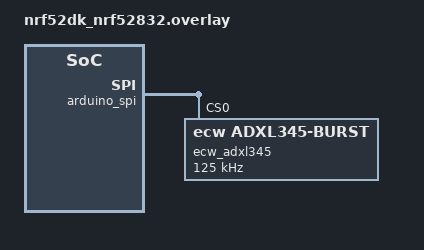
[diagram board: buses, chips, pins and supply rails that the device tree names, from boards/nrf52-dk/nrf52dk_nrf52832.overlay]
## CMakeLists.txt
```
cmake_minimum_required(VERSION 3.20.0)
find_package(Zephyr REQUIRED HINTS $ENV{ZEPHYR_BASE})
project(adxl345_event_driven)

target_sources(app PRIVATE src/main.c)
target_sources_ifdef(CONFIG_ADXL345_BURST app PRIVATE drivers/adxl345_burst/adxl345_burst.c)
target_include_directories(app PRIVATE drivers/adxl345_burst)
```

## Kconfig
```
# The sensor driver ships with the app rather than with Zephyr
config ADXL345_BURST
	bool "ADXL345 burst-read sensor with software FIFO watermark trigger"
	default y
	depends on DT_HAS_ECW_ADXL345_BURST_ENABLED
	select SPI
	select SENSOR
	help
	  Sensor driver that samples an ADXL345 with SPI burst reads and raises
	  SENSOR_TRIG_FIFO_WATERMARK every fifo-watermark samples. Uses the async
	  SPI API (DMA on most SoCs) when CONFIG_SPI_ASYNC=y.

if ADXL345_BURST

config ADXL345_BURST_FIFO_SIZE
	int "Software FIFO size in samples"
	default 32
	help
	  Same depth as the ADXL345 hardware FIFO.

config ADXL345_BURST_THREAD_PRIORITY
	int "Priority of the driver's sampling work queue"
	default 2

config ADXL345_BURST_THREAD_STACK_SIZE
	int "Stack size of the driver's sampling work queue"
	default 1024

config ADXL345_BURST_STARTUP_DELAY_MS
	int "Delay before the first DEVID read at boot (ms)"
	default 0
	range 0 60000
	help
	  How long the driver waits (at least 10 ms) before it first talks to
	  the sensor. The rest of the boot waits too, including the boot banner
	  and all app output. That helps when the serial terminal connects a few
	  seconds after reset, or when the emulated sensor needs time to start.

endif

menu "Application"

config APP_MOTION_THRESHOLD_MG
	int "Peak-to-peak within one batch that counts as motion (mg)"
	default 500

config APP_MOTION_END_BATCHES
	int "Quiet batches in a row that end a motion event"
	default 3

config APP_LED_BLINK_MS
	int "LED blink length for the start position and orientation changes (ms)"
	default 100
	range 0 2000
	help
	  The LED stays on for as long as a motion lasts, and blinks this long
	  for the start position and every orientation change.
	  0 = no blink, the LED only shows motion.

config APP_STATUS_PERIOD_S
	int "Seconds between status lines (0 = no status output)"
	default 5
	range 0 3600

config APP_PRINT_PERIOD_MS
	int "Print period for changes (ms)"
	default 1000
	range 100 60000
	help
	  All application events of one period are collected and printed together on
	  one line at the end of the period; a period without changes prints nothing.
	  1000 matches a terminal that refreshes once per second.

config APP_EVENT_DETAILS
	bool "Print a detailed multi-line block per event instead of one line"
	help
	  Default (n): one line per APP_PRINT_PERIOD_MS with every event of that
	  period, the state and the batch mean on X/Y/Z, plus a one-line status
	  every APP_STATUS_PERIOD_S.
	  y: the detailed blocks (why, full batch table, posture, action) and the
	  multi-line status block.

config APP_LOG_EVERY_BATCH
	bool "Also print one line per sensor event (debug, noisy)"
	help
	  Prints every batch. At 100 Hz / watermark 10 that is 10 lines per second,
	  which costs far more CPU (UART output) than handling the events.

endmenu

source "Kconfig.zephyr"
```

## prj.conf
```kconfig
# Shared settings, the same on every board. Board-specific bits go in boards/<board>.conf.
CONFIG_GPIO=y
CONFIG_SPI=y
CONFIG_SENSOR=y
# With async SPI, each burst finishes in the SPI/DMA interrupt and no thread has to wait.
# If your SPI driver doesn't support async, set this to n and the driver will use
# blocking reads on its own work queue instead.
CONFIG_SPI_ASYNC=y

CONFIG_LOG=y
CONFIG_SENSOR_LOG_LEVEL_INF=y

# Needed for the CPU load shown on the status line
CONFIG_THREAD_RUNTIME_STATS=y

# Wait 5 s after reset before talking to the sensor. The boot banner and all other
# output come after that, so a terminal that connects a bit late doesn't miss anything.
CONFIG_ADXL345_BURST_STARTUP_DELAY_MS=5000
```

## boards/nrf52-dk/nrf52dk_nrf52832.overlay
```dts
/*
 * nRF52 DK (PCA10040) with the ECW emulated ADXL345 sensor (HIL) on the Arduino header.
 *
 * Wiring uses the board's default Arduino SPI pins:
 *   SCK  P0.25 (D13)
 *   MOSI P0.23 (D11, MCU out)
 *   MISO P0.24 (D12, MCU in)
 *   CS   P0.22 (D10)
 *
 * We switch the bus from the legacy SPI peripheral to SPIM (with EasyDMA). With the
 * legacy driver, CS goes back high as soon as an async transfer starts, so every burst
 * would come back wrong. SPIM holds CS low until the transfer really ends.
 *
 * About nRF52832 anomaly 58 (an extra byte on 1-byte transfers): Zephyr already enables
 * the workaround by default, and this driver never sends 1-byte transfers anyway.
 */
/ {
	aliases {
		accel0 = &ecw_adxl345;
	};
};

&arduino_spi {
	compatible = "nordic,nrf-spim";
	status = "okay";

	ecw_adxl345: adxl345@0 {
		compatible = "ecw,adxl345-burst";
		reg = <0>;
		spi-max-frequency = <125000>;		/* ~125 kHz */
		spi-cs-setup-delay-ns = <2000>;		/* CS low, then 2 us */
		spi-cs-hold-delay-ns = <2000>;		/* 2 us, then CS high */
		sampling-frequency = <100>;
		fifo-watermark = <10>;
	};
};
```

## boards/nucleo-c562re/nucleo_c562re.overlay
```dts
/*
 * NUCLEO-C562RE with the ECW emulated ADXL345 sensor (HIL) on the Arduino header (SPI1).
 *
 * Wiring uses the board's default Arduino SPI pins:
 *   SCK  PA5 (D13)
 *   MOSI PA7 (D11, MCU out)
 *   MISO PA6 (D12, MCU in)
 *   CS   PC9 (D10)
 */
/ {
	aliases {
		accel0 = &ecw_adxl345;
		/* LD1 shares PA5 with the SPI clock, so using it as an LED would break SPI. No LED here. */
		/delete-property/ led0;
	};
};

/*
 * SPI1 is clocked from APB2 and can divide by 256 at most. At the default 72 MHz that
 * still gives 281 kHz, which is too fast here. Dropping APB2 to 36 MHz (144 MHz / 4)
 * brings the slowest SPI clock down to about 140 kHz.
 */
&rcc {
	apb2-prescaler = <4>;
};

&arduino_spi {
	status = "okay";

	ecw_adxl345: adxl345@0 {
		compatible = "ecw,adxl345-burst";
		reg = <0>;
		spi-max-frequency = <140625>;		/* 36 MHz / 256 */
		spi-cs-setup-delay-ns = <2000>;		/* CS low, then 2 us */
		spi-cs-hold-delay-ns = <2000>;		/* 2 us, then CS high */
		sampling-frequency = <100>;
		fifo-watermark = <10>;
	};
};
```

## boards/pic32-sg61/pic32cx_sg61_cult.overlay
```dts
/*
 * PIC32CX SG61 Curiosity Ultra with the ECW emulated ADXL345 sensor (HIL).
 *
 * Careful: on this board MOSI and MISO are swapped compared to the silkscreen.
 * From the MCU's point of view:
 *   SCK  PB25 (D13, SERCOM0 PAD1)
 *   MOSI PC25 (D12, SERCOM0 PAD3, MCU out)
 *   MISO PB24 (D11, SERCOM0 PAD0, MCU in)
 *   CS   PC17 (D10, plain GPIO)
 *
 * SPI transfers go through the DMA controller.
 */
#include <zephyr/dt-bindings/clock/mchp_sam_d5x_e5x_clock.h>

/ {
	aliases {
		accel0 = &ecw_adxl345;
	};
};

&pinctrl {
	sercom0_spi_ecw: sercom0_spi_ecw {
		group1 {
			pinmux = <PB24C_SERCOM0_PAD0>,
				 <PB25C_SERCOM0_PAD1>,
				 <PC25C_SERCOM0_PAD3>;
		};
	};
};

/*
 * Run SERCOM0 from GCLK1 (60 MHz) so we can reach 125 kHz (BAUD = 239).
 * On the default GCLK0 the slowest we could get is about 234 kHz.
 */
&gclkperiph {
	sercom0_core {
		subsystem = <CLOCK_MCHP_GCLKPERIPH_ID_SERCOM0_CORE>;
		gclkperiph-src = "gclk1";
		gclkperiph-en = <1>;
	};
};

&sercom0 {
	compatible = "microchip,sercom-g1-spi";
	#address-cells = <1>;
	#size-cells = <0>;
	dopo = <2>;
	dipo = <0>;
	pinctrl-0 = <&sercom0_spi_ecw>;
	pinctrl-names = "default";
	cs-gpios = <&portc 17 GPIO_ACTIVE_LOW>;
	/* Format is <&dmac channel trigger>. SERCOM0 RX is trigger 0x04 and TX is 0x05.
	 * Channels 10 and 11 are already taken by the board's I2C, so we use 0 and 1. */
	dmas = <&dmac 0 0x04>, <&dmac 1 0x05>;
	dma-names = "rx", "tx";
	status = "okay";

	ecw_adxl345: adxl345@0 {
		compatible = "ecw,adxl345-burst";
		reg = <0>;
		spi-max-frequency = <125000>;		/* ~125 kHz */
		spi-cs-setup-delay-ns = <2000>;		/* CS low, then 2 us */
		spi-cs-hold-delay-ns = <2000>;		/* 2 us, then CS high */
		sampling-frequency = <100>;
		fifo-watermark = <10>;
	};
};
```

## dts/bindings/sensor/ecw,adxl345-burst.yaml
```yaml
description: |
  ADXL345 accelerometer read with SPI burst reads (0xF2), with the FIFO and
  the watermark interrupt done in software.

  Made for the ECW emulated ADXL345 sensor (HIL), which only needs DEVID (0x80)
  and the data burst (0xF2) and doesn't use the INT1 pin. The driver samples
  at sampling-frequency, queues every sample, and fires
  SENSOR_TRIG_FIFO_WATERMARK once fifo-watermark samples are waiting. A real
  ADXL345 behaves the same way with its FIFO and INT1, so the app keeps
  working if you switch to the real part (compatible "adi,adxl345").

compatible: "ecw,adxl345-burst"

include: [sensor-device.yaml, spi-device.yaml]

properties:
  sampling-frequency:
    type: int
    default: 100
    description: Burst-read rate in Hz (can be changed with SENSOR_ATTR_SAMPLING_FREQUENCY).

  fifo-watermark:
    type: int
    default: 10
    description: Number of samples that raises SENSOR_TRIG_FIFO_WATERMARK (1..32).
```

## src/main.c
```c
/*
 * Event-driven accelerometer demo, built on Zephyr's sensor trigger API.
 *
 * Instead of polling the sensor in a loop, we register a callback and let the
 * driver tell us when there is data. There are two kinds of events here:
 *
 * 1. Sensor events come from the driver. Each sample is one SPI burst. When
 *    the transfer finishes, the sample goes into the driver's FIFO. Once 10 samples
 *    are waiting (the fifo-watermark), the driver fires SENSOR_TRIG_FIFO_WATERMARK
 *    and watermark_handler() below empties the FIFO and summarizes the batch.
 *
 * 2. Application events are what the user actually cares about: BASELINE,
 *    MOTION START, MOTION END and ORIENTATION CHANGE. The main thread looks at
 *    each batch and only reports something when it changes. Quiet batches are just
 *    counted. To keep the console readable, everything that happened during one
 *    second is printed on a single line, and a short status line shows up every
 *    few seconds. Set CONFIG_APP_EVENT_DETAILS=y for a detailed block per event.
 *
 * This file doesn't know which board it runs on. The sensor comes from the
 * "accel0" devicetree alias and the LED from "led0", both set in the board overlay.
 */
#include <zephyr/kernel.h>
#include <zephyr/device.h>
#include <zephyr/drivers/sensor.h>
#include <zephyr/drivers/gpio.h>
#include <zephyr/sys/printk.h>
#include <zephyr/sys/util.h>
#include <math.h>
#include <stdarg.h>
#include <stdlib.h>
#include <string.h>

#include "adxl345_burst.h"   /* extra driver counters; other drivers simply return -ENOTSUP */

#define SAMPLING_HZ         100
#define MOTION_PP_MG        CONFIG_APP_MOTION_THRESHOLD_MG  /* peak-to-peak in one batch */
#define MOTION_END_BATCHES  CONFIG_APP_MOTION_END_BATCHES   /* quiet batches that end motion */
#define POSTURE_DELTA_MG    200   /* mean change that counts as a new orientation */
#define STATUS_PERIOD       K_SECONDS(CONFIG_APP_STATUS_PERIOD_S)
#define PRINT_PERIOD        K_MSEC(CONFIG_APP_PRINT_PERIOD_MS)

static const struct device *const accel = DEVICE_DT_GET(DT_ALIAS(accel0));
static const struct gpio_dt_spec led = GPIO_DT_SPEC_GET_OR(DT_ALIAS(led0), gpios, {0});

static const char axis_name[3] = { 'X', 'Y', 'Z' };

/* Switch the LED (does nothing on boards without one) */
static void led_set(int on)
{
	if (led.port != NULL) {
		gpio_pin_set_dt(&led, on);
	}
}

/* Sensor events: one summary per batch of samples */
struct batch_event {
	uint32_t batch;          /* sensor event number, 1-based */
	uint32_t first_sample;   /* 1-based index of the first sample = burst number */
	uint32_t t_ms;           /* when the batch was handed to the app */
	uint16_t n;              /* samples in this batch */
	int32_t mean[3], min[3], max[3];
	uint16_t min_at[3], max_at[3];   /* offset in the batch of each min / max */
};

K_MSGQ_DEFINE(batch_q, sizeof(struct batch_event), 4, 4);

static uint32_t n_batches, n_samples, n_dropped;

static int32_t to_mg(const struct sensor_value *v)
{
	/* m/s^2 -> mg */
	return (int32_t)((sensor_value_to_micro(v) * 1000) / SENSOR_G);
}

/*
 * Called by the driver every time the FIFO reaches the watermark. This runs on the
 * system work queue, so we keep it short: read out the samples, compute mean/min/max,
 * and pass the summary to the main thread. No printing here.
 */
static void watermark_handler(const struct device *dev, const struct sensor_trigger *trig)
{
	struct batch_event ev = {
		.first_sample = n_samples + 1,
		.min = { INT32_MAX, INT32_MAX, INT32_MAX },
		.max = { INT32_MIN, INT32_MIN, INT32_MIN },
	};
	int64_t sum[3] = { 0 };
	struct sensor_value xyz[3];

	ARG_UNUSED(trig);

	while (sensor_sample_fetch(dev) == 0) {
		sensor_channel_get(dev, SENSOR_CHAN_ACCEL_XYZ, xyz);
		for (int i = 0; i < 3; i++) {
			int32_t mg = to_mg(&xyz[i]);

			sum[i] += mg;
			if (mg < ev.min[i]) {
				ev.min[i] = mg;
				ev.min_at[i] = ev.n;
			}
			if (mg > ev.max[i]) {
				ev.max[i] = mg;
				ev.max_at[i] = ev.n;
			}
		}
		ev.n++;
	}
	if (ev.n == 0) {
		return;
	}
	for (int i = 0; i < 3; i++) {
		ev.mean[i] = (int32_t)(sum[i] / ev.n);
	}
	n_samples += ev.n;
	ev.batch = ++n_batches;
	ev.t_ms = k_uptime_get_32();

	if (k_msgq_put(&batch_q, &ev, K_NO_WAIT) != 0) {
		n_dropped++;   /* main thread is behind; drop rather than block the sensor */
	}
}

/* Application events: what we report to the user */
enum app_state { QUIET, MOTION };

static struct {
	enum app_state state;
	bool have_posture;
	int32_t posture[3];        /* mean of the batch that set the current orientation */
	uint32_t n_events;
	uint32_t quiet_run;        /* quiet batches since the last moving one */
	uint32_t motion_start_ms, motion_last_ms, motion_batches;
	int32_t motion_peak_mg;
	char motion_peak_axis;
	bool motion_told;          /* a long motion was already shown as "moving" */
} app;

struct posture {
	uint32_t g_mg;     /* |a| */
	char axis;         /* axis closest to vertical */
	bool up;           /* that axis reads +g */
	int tilt_deg;      /* angle between that axis and vertical */
};

static struct posture posture_of(const int32_t m[3])
{
	struct posture p = { 0 };
	float g = sqrtf((float)m[0] * m[0] + (float)m[1] * m[1] + (float)m[2] * m[2]);
	int dom = 0;

	for (int i = 1; i < 3; i++) {
		if (abs(m[i]) > abs(m[dom])) {
			dom = i;
		}
	}
	p.g_mg = (uint32_t)g;
	p.axis = axis_name[dom];
	p.up = m[dom] >= 0;
	p.tilt_deg = g > 0.0f ? (int)(acosf((float)abs(m[dom]) / g) * 57.29578f + 0.5f) : 0;
	return p;
}

static void print_posture(const char *label, const int32_t m[3])
{
	struct posture p = posture_of(m);

	printk("  %-8s: |a| = %u mg, %c axis %s, tilted %d deg\n", label, p.g_mg, p.axis,
	       p.up ? "up" : "down", p.tilt_deg);
}

static const char *state_name(void)
{
	return app.state == MOTION ? "MOTION" : "QUIET";
}

#define FLAT_DEG 5   /* below this tilt we just say "flat" */

/*
 * The orientation in plain words: "flat", "30 deg toward +X", "upside down",
 * "on its side (+X up)". The direction is the other axis that reads the most.
 */
static void position_text(char *buf, size_t size, const int32_t m[3])
{
	struct posture p = posture_of(m);
	int dom = p.axis - 'X';
	int a = (dom + 1) % 3;
	int b = (dom + 2) % 3;
	int lean = abs(m[a]) >= abs(m[b]) ? a : b;
	char tilt[32] = "";

	if (p.tilt_deg >= FLAT_DEG) {
		snprintk(tilt, sizeof(tilt), "%d deg toward %c%c", p.tilt_deg,
			 m[lean] >= 0 ? '+' : '-', axis_name[lean]);
	}
	if (p.axis == 'Z' && p.up) {
		snprintk(buf, size, "%s", tilt[0] != '\0' ? tilt : "flat");
	} else if (p.axis == 'Z') {
		snprintk(buf, size, "upside down%s%s", tilt[0] != '\0' ? ", " : "", tilt);
	} else {
		snprintk(buf, size, "on its side (%c%c up)%s%s", p.up ? '+' : '-', p.axis,
			 tilt[0] != '\0' ? ", " : "", tilt);
	}
}

/* mg as g with one decimal, e.g. 1800 -> "1.8", -550 -> "-0.6" */
static void g_text(char *buf, size_t size, int32_t mg)
{
	int32_t tenths = (abs(mg) + 50) / 100;

	snprintk(buf, size, "%s%d.%d", mg < 0 ? "-" : "", tenths / 10, tenths % 10);
}

/*
 * Count a new application event. In detailed mode this also prints
 * the header of the event block; otherwise the text is added to the current line with note().
 */
static void announce(const char *what, const struct batch_event *ev)
{
	app.n_events++;
	if (IS_ENABLED(CONFIG_APP_EVENT_DETAILS)) {
		printk("\n==== APP EVENT %u: %s ", app.n_events, what);
		for (int i = strlen(what); i < 40; i++) {
			printk("=");
		}
		printk(" t=%u.%03u s\n", ev->t_ms / 1000, ev->t_ms % 1000);
	}
}

/*
 * Everything that changed during the print period is collected here and printed
 * as one line. Changes of the same kind in a row share one label, e.g.
 *   [   23.0 s] orientation: flat, 30 deg toward +X | motion: Z 1.8 g (0.1 s)
 */
static const char KIND_ORIENTATION[] = "orientation";
static const char KIND_MOTION[] = "motion";

static struct {
	char text[256];
	size_t len;
	uint32_t count;     /* events collected since the last line */
	uint32_t untold;    /* events that did not fit into text */
	const char *kind;   /* kind of the last item on the line */
} changes;

static void note(const char *kind, const char *fmt, ...)
{
	char item[64];
	char piece[96];
	va_list ap;
	int n;

	va_start(ap, fmt);
	vsnprintk(item, sizeof(item), fmt, ap);
	va_end(ap);

	if (changes.len == 0) {
		n = snprintk(piece, sizeof(piece), "%s: %s", kind, item);
	} else if (kind == changes.kind) {
		n = snprintk(piece, sizeof(piece), ", %s", item);
	} else {
		n = snprintk(piece, sizeof(piece), " | %s: %s", kind, item);
	}
	n = CLAMP(n, 0, (int)sizeof(piece) - 1);

	changes.count++;
	/* Once the line is full, the rest only show up as "+N more" so the order stays correct */
	if (changes.untold > 0 || changes.len + n >= sizeof(changes.text)) {
		changes.untold++;
		return;
	}
	memcpy(&changes.text[changes.len], piece, n + 1);
	changes.len += n;
	changes.kind = kind;
}

static void print_changes(void)
{
	uint32_t now = k_uptime_get_32();

	/* A motion is reported when it ends. If one goes on for a while, say so once. */
	if (app.state == MOTION && !app.motion_told && now - app.motion_start_ms >= 1000) {
		note(KIND_MOTION, "moving");
		app.motion_told = true;
	}
	if (changes.count == 0) {
		return;
	}
	printk("[%6u.%u s] %s", now / 1000, (now % 1000) / 100, changes.text);
	if (changes.untold > 0) {
		printk(", +%u more", changes.untold);
	}
	printk("\n");
	changes.len = 0;
	changes.text[0] = '\0';
	changes.count = 0;
	changes.untold = 0;
	changes.kind = NULL;
}

static void print_batch(const struct batch_event *ev)
{
	printk("  trigger : sensor event #%u (FIFO watermark), %u samples = bursts #%u..#%u\n",
	       ev->batch, ev->n, ev->first_sample, ev->first_sample + ev->n - 1);
	printk("  accel   :     mean      min      max      p-p   (mg)\n");
	for (int i = 0; i < 3; i++) {
		int32_t pp = ev->max[i] - ev->min[i];

		printk("        %c : %8d %8d %8d %8d%s\n", axis_name[i], ev->mean[i], ev->min[i],
		       ev->max[i], pp, pp > MOTION_PP_MG ? "   <-- over threshold" : "");
	}
}

static const char *led_text(void)
{
	return led.port != NULL ? "LED" : "(no LED on this board)";
}

/*
 * The LED stays on for as long as a motion lasts, and gives a short blink for the
 * start position and every orientation change. So: steady on = moving, a blink =
 * tilted, off = still.
 */
static void led_blink_done(struct k_work *work)
{
	ARG_UNUSED(work);
	if (app.state != MOTION) {
		led_set(0);   /* a motion that started during the blink keeps the LED on */
	}
}

static K_WORK_DELAYABLE_DEFINE(led_blink_work, led_blink_done);

static void led_blink(void)
{
	if (CONFIG_APP_LED_BLINK_MS == 0 || app.state == MOTION) {
		return;
	}
	led_set(1);
	k_work_reschedule(&led_blink_work, K_MSEC(CONFIG_APP_LED_BLINK_MS));
}

/*
 * The little state machine that turns batches into events. It runs once per batch:
 *
 *   - First batch after boot: store it as the reference orientation (BASELINE).
 *   - QUIET, and one axis swings more than MOTION_PP_MG within the batch: MOTION START.
 *   - MOTION, and MOTION_END_BATCHES calm batches in a row: back to QUIET, MOTION END.
 *   - QUIET, and the average on an axis moved more than POSTURE_DELTA_MG since the
 *     reference: ORIENTATION CHANGE.
 *
 * Anything else changes nothing and is just counted.
 */
static void update_device_state(const struct batch_event *ev)
{
	int32_t pp_max = 0;
	int ax = 0;

	for (int i = 0; i < 3; i++) {
		if (ev->max[i] - ev->min[i] > pp_max) {
			pp_max = ev->max[i] - ev->min[i];
			ax = i;
		}
	}
	bool moving = pp_max > MOTION_PP_MG;
	char pos[64];
	char g[16];

	if (IS_ENABLED(CONFIG_APP_LOG_EVERY_BATCH)) {
		printk("[batch #%u t=%u ms n=%u] mean %d/%d/%d mg, p-p %d mg on %c%s\n",
		       ev->batch, ev->t_ms, ev->n, ev->mean[0], ev->mean[1], ev->mean[2], pp_max,
		       axis_name[ax], moving ? " MOTION" : "");
	}

	if (!app.have_posture) {
		announce("BASELINE", ev);
		if (IS_ENABLED(CONFIG_APP_EVENT_DETAILS)) {
			printk("  why     : first sensor event since boot, reference orientation stored\n");
			print_batch(ev);
			print_posture("posture", ev->mean);
			printk("  action  : %s blinks, waiting for changes\n", led_text());
		} else {
			position_text(pos, sizeof(pos), ev->mean);
			note(KIND_ORIENTATION, "%s (start)", pos);
		}
		memcpy(app.posture, ev->mean, sizeof(app.posture));
		app.have_posture = true;
		led_blink();
		return;
	}

	if (moving) {
		/* The peak is whichever extreme sits furthest from the mean on the busiest axis */
		bool hi = (ev->max[ax] - ev->mean[ax]) >= (ev->mean[ax] - ev->min[ax]);
		int32_t peak = hi ? ev->max[ax] : ev->min[ax];
		uint16_t at = hi ? ev->max_at[ax] : ev->min_at[ax];

		app.quiet_run = 0;
		app.motion_last_ms = ev->t_ms;
		app.motion_batches++;
		if (abs(peak) > abs(app.motion_peak_mg)) {
			app.motion_peak_mg = peak;
			app.motion_peak_axis = axis_name[ax];
		}
		if (app.state == MOTION) {
			return;   /* still moving; the summary comes with MOTION END */
		}

		app.state = MOTION;
		app.motion_start_ms = ev->t_ms;
		app.motion_batches = 1;
		app.motion_peak_mg = peak;
		app.motion_peak_axis = axis_name[ax];
		app.motion_told = false;
		k_work_cancel_delayable(&led_blink_work);
		led_set(1);

		/* Nothing goes on the line yet: the whole motion is shown once it's over */
		announce("MOTION START", ev);
		if (IS_ENABLED(CONFIG_APP_EVENT_DETAILS)) {
			printk("  why     : p-p %d mg on %c > %d mg threshold within one batch\n",
			       pp_max, axis_name[ax], MOTION_PP_MG);
			print_batch(ev);
			printk("  peak    : %d mg on %c at burst #%u (sample %u of %u)\n", peak,
			       axis_name[ax], ev->first_sample + at, at + 1, ev->n);
			printk("  action  : %s on until the motion ends\n", led_text());
		}
		return;
	}

	if (app.state == MOTION) {
		if (++app.quiet_run < MOTION_END_BATCHES) {
			return;
		}
		app.state = QUIET;
		led_set(0);

		uint32_t lasted_ms = app.motion_last_ms - app.motion_start_ms +
				     1000 * ev->n / SAMPLING_HZ;

		announce("MOTION END", ev);
		if (IS_ENABLED(CONFIG_APP_EVENT_DETAILS)) {
			printk("  why     : %d quiet batches in a row (%d ms without motion)\n",
			       MOTION_END_BATCHES, MOTION_END_BATCHES * 1000 * ev->n / SAMPLING_HZ);
			printk("  motion  : lasted ~%u ms over %u moving batch(es), peak %d mg on %c\n",
			       lasted_ms, app.motion_batches, app.motion_peak_mg,
			       app.motion_peak_axis);
			print_posture("posture", ev->mean);
			printk("  action  : %s off\n", led_text());
		} else {
			g_text(g, sizeof(g), app.motion_peak_mg);
			note(KIND_MOTION, "%c %s g (%u.%u s)", app.motion_peak_axis, g, lasted_ms / 1000,
			     (lasted_ms % 1000) / 100);
		}
		memcpy(app.posture, ev->mean, sizeof(app.posture));
		return;
	}

	/* Nothing is moving, so the only thing left to check is whether the board was tilted */
	for (int i = 0; i < 3; i++) {
		if (abs(ev->mean[i] - app.posture[i]) > POSTURE_DELTA_MG) {
			announce("ORIENTATION CHANGE", ev);
			if (IS_ENABLED(CONFIG_APP_EVENT_DETAILS)) {
				printk("  why     : mean moved more than %d mg since the last "
				       "posture, no motion in batch\n", POSTURE_DELTA_MG);
				print_batch(ev);
				print_posture("before", app.posture);
				print_posture("after", ev->mean);
				printk("  action  : new reference orientation stored, %s blinks\n",
				       led_text());
			} else {
				position_text(pos, sizeof(pos), ev->mean);
				note(KIND_ORIENTATION, "%s", pos);
			}
			memcpy(app.posture, ev->mean, sizeof(app.posture));
			led_blink();
			return;
		}
	}
}

/* Periodic status line */
static int32_t drv_stat(enum adxl345_burst_attribute attr)
{
	struct sensor_value v;

	if (sensor_attr_get(accel, SENSOR_CHAN_ALL, (enum sensor_attribute)attr, &v) != 0) {
		return -1;
	}
	return v.val1;
}

static void print_status(void)
{
	static uint32_t last_bursts, last_batches, last_events;
	static uint64_t last_exec, last_idle;
	uint32_t now = k_uptime_get_32();
	int32_t bursts = drv_stat(ADXL345_BURST_ATTR_BURSTS);
	int32_t busy_permille = -1;   /* stays -1 if runtime stats are off */

#ifdef CONFIG_THREAD_RUNTIME_STATS
	k_thread_runtime_stats_t rt;

	if (k_thread_runtime_stats_all_get(&rt) == 0) {
		uint64_t exec = rt.execution_cycles - last_exec;
		uint64_t idle = rt.idle_cycles - last_idle;

		if (exec > 0) {
			busy_permille = (int32_t)(((exec - idle) * 1000) / exec);
		}
		last_exec = rt.execution_cycles;
		last_idle = rt.idle_cycles;
	}
#endif

	if (IS_ENABLED(CONFIG_APP_EVENT_DETAILS)) {
		printk("\n---- status t=%u.%03u s, last %d s ", now / 1000, now % 1000,
		       CONFIG_APP_STATUS_PERIOD_S);
		printk("-----------------------------------\n");
		if (bursts >= 0) {
			printk("  sensor  : %d bursts (+%u), transfer %d us (max %d us)\n", bursts,
			       (uint32_t)bursts - last_bursts,
			       drv_stat(ADXL345_BURST_ATTR_XFER_US_LAST),
			       drv_stat(ADXL345_BURST_ATTR_XFER_US_MAX));
			printk("            %d overruns, %d errors, %d FIFO drops\n",
			       drv_stat(ADXL345_BURST_ATTR_OVERRUNS),
			       drv_stat(ADXL345_BURST_ATTR_ERRORS),
			       drv_stat(ADXL345_BURST_ATTR_FIFO_DROPS));
		}
		printk("  events  : %u sensor events (+%u) -> %u app events (+%u), %u dropped\n",
		       n_batches, n_batches - last_batches, app.n_events,
		       app.n_events - last_events, n_dropped);
		printk("  state   : %s\n", state_name());
		if (busy_permille >= 0) {
			printk("  cpu     : %d.%d %% busy, %d.%d %% idle (threads incl. console output)\n",
			       busy_permille / 10, busy_permille % 10,
			       (1000 - busy_permille) / 10, (1000 - busy_permille) % 10);
		}
	} else {
		/*
		 * Looks like this:
		 * [   45.0 s] status: OK, 500 samples, 0 errors, cpu 1.0%
		 * Samples cover the last period. Errors add up every problem counter since
		 * boot, so a healthy board always shows 0; if not, the line says which one.
		 */
		int32_t ovr = MAX(drv_stat(ADXL345_BURST_ATTR_OVERRUNS), 0);
		int32_t err = MAX(drv_stat(ADXL345_BURST_ATTR_ERRORS), 0);
		int32_t drop = MAX(drv_stat(ADXL345_BURST_ATTR_FIFO_DROPS), 0);
		uint32_t problems = (uint32_t)(ovr + err + drop) + n_dropped;

		printk("[%6u.%u s] status: %s", now / 1000, (now % 1000) / 100,
		       problems == 0 ? "OK" : "CHECK");
		if (bursts >= 0) {
			printk(", %u samples", (uint32_t)bursts - last_bursts);
		}
		printk(", %u errors", problems);
		if (problems > 0) {
			printk(" (overrun %d, spi %d, fifo full %d, queue full %u)", ovr, err, drop,
			       n_dropped);
		}
		if (busy_permille >= 0) {
			printk(", cpu %d.%d%%", busy_permille / 10, busy_permille % 10);
		}
		printk("\n");
	}

	if (bursts >= 0) {
		last_bursts = bursts;
	}
	last_batches = n_batches;
	last_events = app.n_events;
}

int main(void)
{
	const struct sensor_trigger trig = {
		.type = SENSOR_TRIG_FIFO_WATERMARK,
		.chan = SENSOR_CHAN_ACCEL_XYZ,
	};
	const struct sensor_value odr = { .val1 = SAMPLING_HZ };
	k_timepoint_t next_status, next_print;
	int rc;

	printk("\n==================================================\n");
	printk(" ADXL345 event demo on %s\n", CONFIG_BOARD_TARGET);

	if (!device_is_ready(accel)) {
		printk("sensor %s not ready (check wiring / DEVID in the log)\n", accel->name);
		return 0;
	}
	if (led.port != NULL && gpio_is_ready_dt(&led)) {
		gpio_pin_configure_dt(&led, GPIO_OUTPUT_INACTIVE);
	}

	rc = sensor_attr_set(accel, SENSOR_CHAN_ACCEL_XYZ, SENSOR_ATTR_SAMPLING_FREQUENCY, &odr);
	if (rc != 0) {
		printk("sensor_attr_set(SAMPLING_FREQUENCY) failed: %d\n", rc);
		return 0;
	}

	rc = sensor_trigger_set(accel, &trig, watermark_handler);
	if (rc != 0) {
		printk("sensor_trigger_set(FIFO_WATERMARK) failed: %d\n", rc);
		return 0;
	}

	printk(" Shows motion and orientation changes every %d.%d s\n",
	       CONFIG_APP_PRINT_PERIOD_MS / 1000, (CONFIG_APP_PRINT_PERIOD_MS % 1000) / 100);
	if (CONFIG_APP_STATUS_PERIOD_S > 0) {
		printk(" Status every %d s\n", CONFIG_APP_STATUS_PERIOD_S);
	}
	printk("==================================================\n");

	next_status = sys_timepoint_calc(STATUS_PERIOD);
	next_print = sys_timepoint_calc(PRINT_PERIOD);
	while (1) {
		struct batch_event ev;

		/* Sleep until a batch arrives or it's time to print. No polling. */
		if (k_msgq_get(&batch_q, &ev, sys_timepoint_timeout(next_print)) == 0) {
			update_device_state(&ev);
		}
		if (sys_timepoint_expired(next_print)) {
			print_changes();   /* prints nothing if nothing happened */
			next_print = sys_timepoint_calc(PRINT_PERIOD);
		}
		if (CONFIG_APP_STATUS_PERIOD_S > 0 && sys_timepoint_expired(next_status)) {
			print_status();
			next_status = sys_timepoint_calc(STATUS_PERIOD);
		}
	}
	return 0;
}
```
